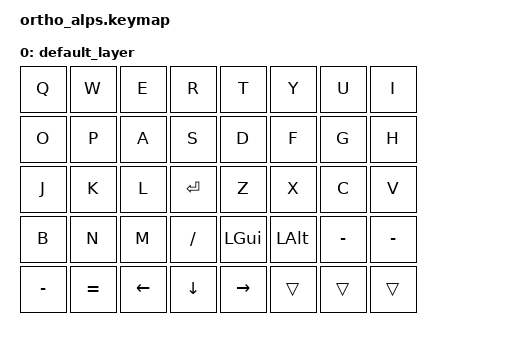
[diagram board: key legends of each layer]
#include <behaviors.dtsi>
#include <dt-bindings/zmk/keys.h>
#include <dt-bindings/zmk/bt.h>

#define DEFAULT 0

/ {
    

    keymap {
        compatible = "zmk,keymap";

        default_layer {
            bindings = <
                &kp Q           &kp W           &kp E           &kp R           &kp T           &kp Y           &kp U           &kp I
                &kp O           &kp P           &kp A           &kp S           &kp D           &kp F           &kp G           &kp H
                &kp J           &kp K           &kp L           &kp RET         &kp Z           &kp X           &kp C           &kp V
                &kp B           &kp N           &kp M           &kp SLASH       &kp LGUI         &kp LALT        &kp MINUS       &kp MINUS
                &kp MINUS       &kp EQUAL       &kp LEFT        &kp DOWN        &kp RIGHT       &trans          &trans          &trans
            >;
        };
    };
};
